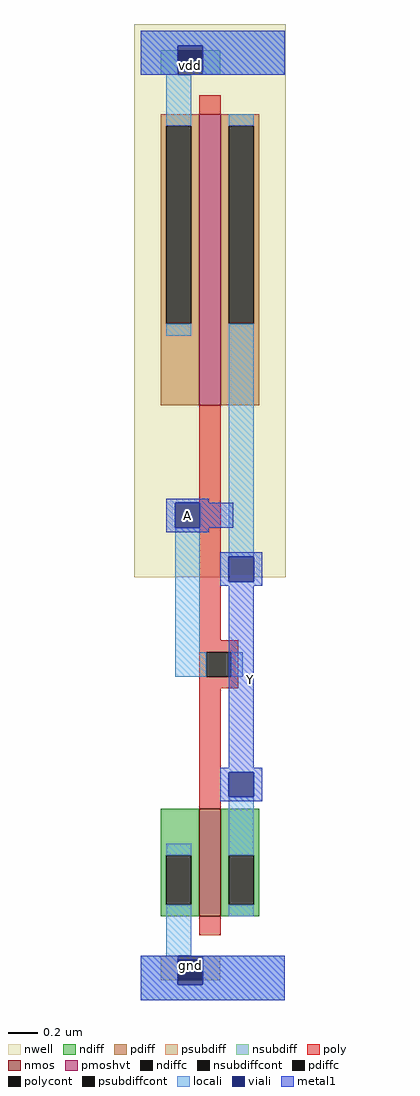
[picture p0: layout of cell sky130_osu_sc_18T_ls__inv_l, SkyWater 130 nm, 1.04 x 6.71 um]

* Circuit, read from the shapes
.subckt sky130_osu_sc_18T_ls__inv_l A Y
XM1 Y A gnd gnd sky130_fd_pr__nfet_01v8 w=0.74 l=0.15
XM2 Y A vdd vdd sky130_fd_pr__pfet_01v8_hvt w=2 l=0.15
.ends

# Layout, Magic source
magic
tech sky130A
magscale 1 2
<< nwell >>
rect -9 581 199 1341
<< nmos >>
rect 80 115 110 263
<< pmoshvt >>
rect 80 817 110 1217
<< ndiff >>
rect 27 199 80 263
rect 27 131 35 199
rect 69 131 80 199
rect 27 115 80 131
rect 110 199 163 263
rect 110 131 121 199
rect 155 131 163 199
rect 110 115 163 131
<< pdiff >>
rect 27 1201 80 1217
rect 27 929 35 1201
rect 69 929 80 1201
rect 27 817 80 929
rect 110 1201 163 1217
rect 110 929 121 1201
rect 155 929 163 1201
rect 110 817 163 929
<< ndiffc >>
rect 35 131 69 199
rect 121 131 155 199
<< pdiffc >>
rect 35 929 69 1201
rect 121 929 155 1201
<< psubdiff >>
rect 27 27 51 61
rect 85 27 109 61
<< nsubdiff >>
rect 27 1271 51 1305
rect 85 1271 109 1305
<< psubdiffcont >>
rect 51 27 85 61
<< nsubdiffcont >>
rect 51 1271 85 1305
<< poly >>
rect 80 1217 110 1243
rect 80 494 110 817
rect 80 478 134 494
rect 80 444 90 478
rect 124 444 134 478
rect 80 428 134 444
rect 80 263 110 428
rect 80 89 110 115
<< polycont >>
rect 90 444 124 478
<< locali >>
rect 0 1311 198 1332
rect 0 1271 51 1311
rect 85 1271 198 1311
rect 35 1201 69 1271
rect 35 913 69 929
rect 121 1201 155 1217
rect 47 478 81 649
rect 121 609 155 929
rect 47 444 90 478
rect 124 444 140 478
rect 35 199 69 215
rect 35 61 69 131
rect 121 199 155 279
rect 121 115 155 131
rect 0 21 51 61
rect 85 21 198 61
rect 0 0 198 21
<< viali >>
rect 51 1305 85 1311
rect 51 1277 85 1305
rect 47 649 81 683
rect 121 575 155 609
rect 121 279 155 313
rect 51 27 85 55
rect 51 21 85 27
<< metal1 >>
rect 0 1311 198 1332
rect 0 1277 51 1311
rect 85 1277 198 1311
rect 0 1271 198 1277
rect 35 683 93 689
rect 35 649 47 683
rect 81 649 127 683
rect 35 643 93 649
rect 109 609 167 615
rect 109 575 121 609
rect 155 575 167 609
rect 109 569 167 575
rect 121 319 155 569
rect 109 313 167 319
rect 109 279 121 313
rect 155 279 167 313
rect 109 273 167 279
rect 0 55 198 61
rect 0 21 51 55
rect 85 21 198 55
rect 0 0 198 21
<< labels >>
rlabel metal1 64 666 64 666 1 A
port 1 n
rlabel metal1 151 441 151 441 1 Y
port 2 n
rlabel viali 68 48 68 48 1 gnd
rlabel viali 68 1284 68 1284 1 vdd
<< end >>
